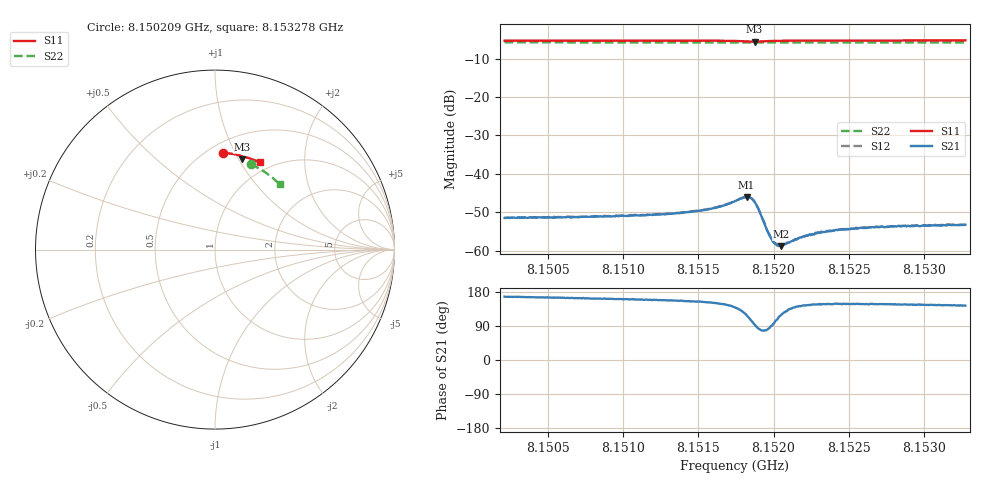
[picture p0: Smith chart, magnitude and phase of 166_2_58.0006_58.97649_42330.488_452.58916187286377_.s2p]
#  HZ  S  RI  R  50.00
! Rohde & Schwarz Vector Network Analyzer
! Rohde-Schwarz,ZNB20-2Port,1311601062101988,3.16
! Created: UTC 3/21/2024, 12:57:44 AM
! freq[Hz]  re:S11  im:S11  re:S21  im:S21  re:S12  im:S12  re:S22  im:S22
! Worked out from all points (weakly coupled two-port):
!   401 points, 8.150209 GHz to 8.153278 GHz, reference 50 ohm
!   highest |S21| = -46.06 dB at 8.15182 GHz (marker M1); lowest = -58.9 dB at 8.15205 GHz (marker M2)
!   lowest |S11| = -5.6 dB at 8.151874 GHz (marker M3), VSWR 3.21, Z = 37.3 + j51.8 ohm
!   |S11| at or under -10 dB: nowhere
!   |S22| runs from -5.8 to -5.8 dB; largest |S21 - S12| = 0.00012
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8.1502088e9  0.046 0.539  -0.00259 0.000588  -0.00262 0.000638  0.1999 0.4753
8.1507228e9  0.0822 0.5354  -0.00263 0.000816  -0.00262 0.000845  0.2297 0.4607
8.1512369e9  0.1185 0.5293  -0.00272 0.00111  -0.00278 0.00113  0.2586 0.4446
8.1514211e9  0.1318 0.5261  -0.00287 0.00132  -0.00286 0.00135  0.2687 0.4382
8.1515439e9  0.1411 0.5234  -0.00301 0.00155  -0.00304 0.00161  0.2753 0.4338
8.1516589e9  0.1504 0.5196  -0.00324 0.00203  -0.0032 0.00211  0.2814 0.4296
8.1517434e9  0.1573 0.5143  -0.00333 0.00288  -0.0033 0.00298  0.2858 0.4263
8.1518201e9  0.1595 0.5049  -0.00238 0.00438  -0.00236 0.00445  0.2897 0.4232
8.1518508e9  0.1563 0.5021  -0.0012 0.00466  -0.00118 0.00469  0.2909 0.4222
8.1518738e9  0.1527 0.5023  -0.000254 0.00428  -0.000177 0.00434  0.2921 0.4214
8.1518968e9  0.1507 0.5048  0.000391 0.00354  0.000436 0.00356  0.293 0.4207
8.1519659e9  0.1542 0.5128  0.000221 0.00167  0.00024 0.00169  0.2969 0.4184
8.1519889e9  0.1566 0.514  -3.85e-06 0.00139  -2.2e-05 0.00141  0.298 0.4178
8.1520196e9  0.1599 0.5148  -0.000322 0.00115  -0.000291 0.00117  0.2997 0.4166
8.1520503e9  0.163 0.5151  -0.000556 0.000997  -0.000537 0.00105  0.3012 0.4154
8.1521807e9  0.1743 0.5137  -0.00117 0.000919  -0.00115 0.000905  0.3082 0.4103
8.1522574e9  0.1804 0.5123  -0.00136 0.000922  -0.00135 0.00095  0.312 0.4072
8.1524339e9  0.1931 0.5084  -0.00159 0.000992  -0.00158 0.00102  0.3207 0.4
8.1525951e9  0.2041 0.5045  -0.00165 0.00105  -0.00171 0.00106  0.3287 0.3934
8.1527715e9  0.2159 0.5001  -0.00172 0.0011  -0.0017 0.00111  0.337 0.3858
8.1531705e9  0.2417 0.4887  -0.00176 0.00125  -0.00178 0.00128  0.3554 0.3683
8.1532779e9  0.2484 0.4857  -0.00174 0.0013  -0.00171 0.0013  0.3602 0.3633
